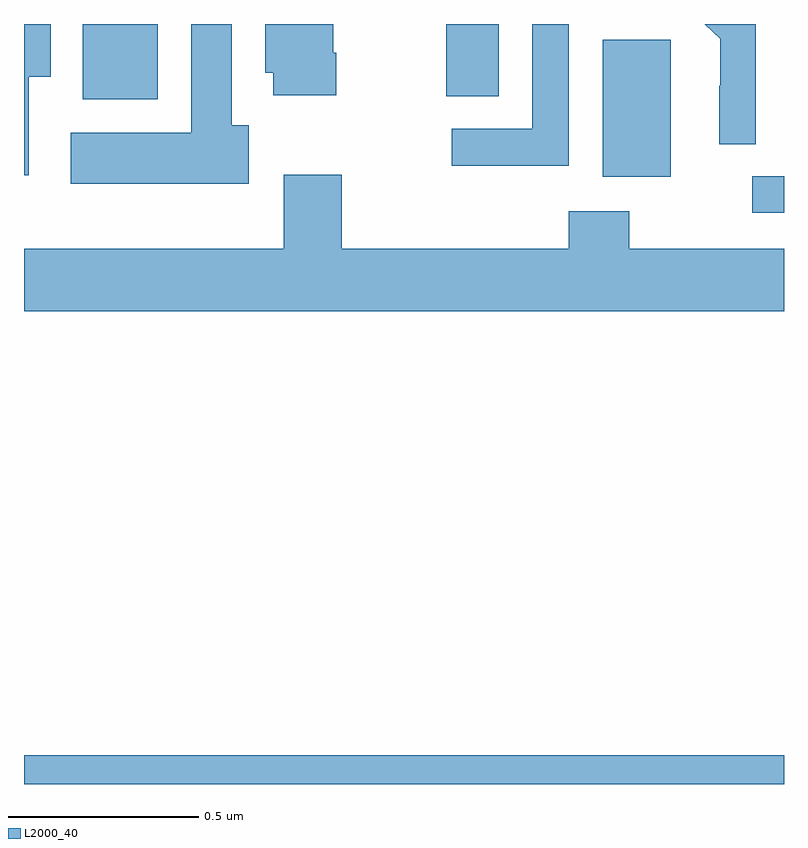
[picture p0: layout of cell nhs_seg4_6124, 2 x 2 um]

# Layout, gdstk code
import gdstk
lib = gdstk.Library(unit=1e-6, precision=1e-09)
def R(c, l, rs):  # rectangles x0, y0, x1, y1
    for r in rs: c.add(gdstk.rectangle(r[:2], r[2:], *l))
def P(c, l, *ps):  # polygons
    for p in ps: c.add(gdstk.Polygon(p, *l))
L2000_40 = (2000, 40)

nhs_seg4_6124 = lib.new_cell('nhs_seg4_6124')
R(nhs_seg4_6124, L2000_40, [(186,804.9,188,804.976), (187.917,806.403,188,806.499), (187.523,806.498,187.702,806.859), (186.155,806.702,186.352,806.9), (187.111,806.71,187.249,806.9)])
P(nhs_seg4_6124, L2000_40, [(186.592,806.634),(186.547,806.634),(186.547,806.9),(186.44,806.9),(186.44,806.614),(186.123,806.614),(186.123,806.48),(186.592,806.48)],
  [(186.013,806.761),(186.07,806.761),(186.07,806.9),(186,806.9),(186,806.502),(186.013,806.502)],
  [(187.434,806.9),(187.338,806.9),(187.338,806.625),(187.125,806.625),(187.125,806.527),(187.434,806.527)],
  [(187.926,806.9),(187.792,806.9),(187.832,806.861),(187.832,806.738),(187.83,806.738),(187.83,806.584),(187.926,806.584)],
  [(186.822,806.824),(186.814,806.824),(186.814,806.9),(186.635,806.9),(186.635,806.772),(186.656,806.772),(186.656,806.712),(186.822,806.712)],
  [(188,806.308),(187.593,806.308),(187.593,806.407),(187.433,806.407),(187.433,806.308),(186.836,806.308),(186.836,806.503),(186.683,806.503),(186.683,806.308),(186,806.308),(186,806.144),(188,806.144)])

lib.write_gds('nhs_seg4_6124.gds')
